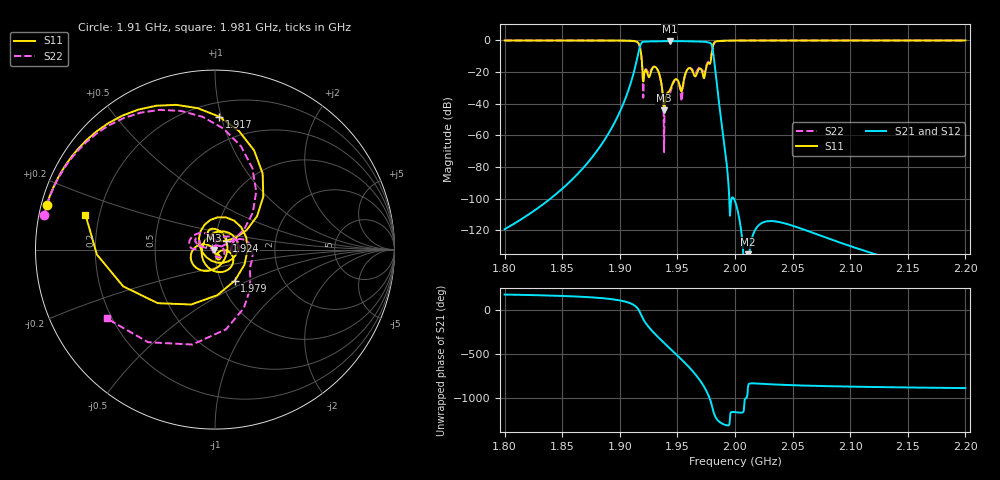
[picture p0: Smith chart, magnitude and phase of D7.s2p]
! Touchstone file exported from HFSS 2023.1.0
!  File:  E:/1.Project/CoxailF/seventhree.aedt
!  Generated:  11:46:02 %x4E0A%x5348  5%x6708 25, 2023
!  Design:  Resonator_out10
!  Project:  seventhree
!  Setup:  Setup1
!  Solution:  Sweep
! Variables:
!  Hin1 = 26mm
!  Hout = 29mm
!  L12 = 14.8mm
!  L13 = 14.75mm
!  L23 = 6.95mm
!  L34 = 12.5mm
!  L45 = 7.8mm
!  L46 = 3.7mm
!  L56 = 8.2mm
!  L67 = 12.5mm
!  L78 = 8.5mm
!  L79 = 10.8mm
!  L89 = 15.3mm
!  Rin = 5mm
!  Rin2 = 4mm
!  Rout = 15mm
!  Rport = 1.15mm
!  Rport2 = 3mm
!  Rportin = 0.5mm
!  d = 3mm
!  d01 = 2.9mm
!  d02 = 3.53mm
!  d03 = 3.66mm
!  d04 = 3.74mm
!  d05 = 3.745mm
!  d06 = 3.74mm
!  d07 = 3.672mm
!  d08 = 3.52mm
!  d09 = 2.92mm
!  d12 = 18mm
!  d12x = 15.5mm
!  d12y = 25mm
!  d23 = 18mm
!  d34 = 30mm
!  hport = 10.4mm
!  hport2 = 10.4mm
!  lport = 12mm
!  lport2 = 1mm
!  lport_2 = 12mm
!  m = 2mm
!  w12 = 12mm
!  w13 = 10mm
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# GHz S MA R 50.000000
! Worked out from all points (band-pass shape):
!   1001 points, 1.8 GHz to 2.2 GHz, reference 50 ohm
!   highest |S21| = -0.45 dB at 1.943 GHz (marker M1); lowest = -150.1 dB at 2.011 GHz (marker M2)
!   |S21| within 3 dB of the highest: 1.918 GHz to 1.98 GHz (62.34 MHz wide, 3.2 % of centre)
!   lowest |S11| = -44.1 dB at 1.938 GHz (marker M3), VSWR 1.01, Z = 49.4 - j0.262 ohm
!   |S11| at or under -10 dB: 1.919 GHz to 1.98 GHz (60.8 MHz wide, 3.12 % of centre)
!   |S22| runs from -70.5 to 0.0 dB; largest |S21 - S12| = 2.6e-10
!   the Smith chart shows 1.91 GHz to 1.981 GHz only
!   S11 on the Smith chart (normalised r, x): 1.91 GHz: 0.02, +0.13; 1.917 GHz: 0.30, +0.99; 1.924 GHz: 1.13, +0.11; 1.979 GHz: 1.17, -0.42; 1.981 GHz: 0.15, +0.13
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1.8  0.9985 -90.1  1.084e-06 179.1  1.084e-06 179.1  0.9985 -90.1
! Gamma 0.0540660341966495 37.7798279272558 0.0538044590817984 37.7795020843917
! Port Impedance 50 0 50 0
1.8668  0.9962 -114.8  8.217e-05 153.8  8.217e-05 153.8  0.9962 -114.7
1.9104  0.9699 165.0  0.05773 72.6  0.05773 72.6  0.9716 168.5
1.9168  0.741 88.2  0.5126 -5.8  0.5126 -5.8  0.7428 95.3
1.9244  0.07995 37.9  0.9278 -178.5  0.9278 -178.5  0.09836 150.8
1.9336  0.102 168.7  0.9411 50.1  0.9411 50.1  0.1008 118.4
1.9384  0.006267 -155.0  0.9489 -11.1  0.9489 -11.1  0.0002969 -36.3
1.9432  0.02577 -68.1  0.9498 -70.3  0.9498 -70.3  0.01988 103.0
1.952  0.03782 -78.0  0.9483 -179.4  0.9483 -179.4  0.03343 -88.1
1.9584  0.1165 -28.7  0.9387 96.2  0.9387 96.2  0.1155 36.7
1.9644  0.08222 -151.3  0.9344 9.3  0.9344 9.3  0.09881 -5.8
1.9696  0.1313 19.0  0.919 -78.5  0.919 -78.5  0.1419 3.4
1.974  0.08888 165.5  0.9041 -169.8  0.9041 -169.8  0.1161 23.7
1.9788  0.205 -57.3  0.8157 47.4  0.8157 47.4  0.2531 -39.0
1.9812  0.7469 165.0  0.3858 -69.9  0.3858 -69.9  0.7148 -147.6
1.9852  0.9538 78.7  0.02015 -174.6  0.02015 -174.6  0.939 93.7
1.9924  0.9824 30.2  0.0001647 131.8  0.0001647 131.8  0.9802 33.7
2  0.9901 6.5  8.297e-06 -79.9  8.297e-06 -79.9  0.9895 7.8
2.0112  0.9943 -13.3  3.12e-08 -161.5  3.12e-08 -161.5  0.9942 -12.8
2.0668  0.9984 -49.8  8.543e-07 -139.5  8.543e-07 -139.5  0.9984 -49.8
2.1336  0.999 -66.0  1.307e-07 -155.8  1.307e-07 -155.8  0.999 -66.0
2.2  0.999 -76.0  3.142e-08 -166.0  3.142e-08 -166.0  0.999 -76.1
